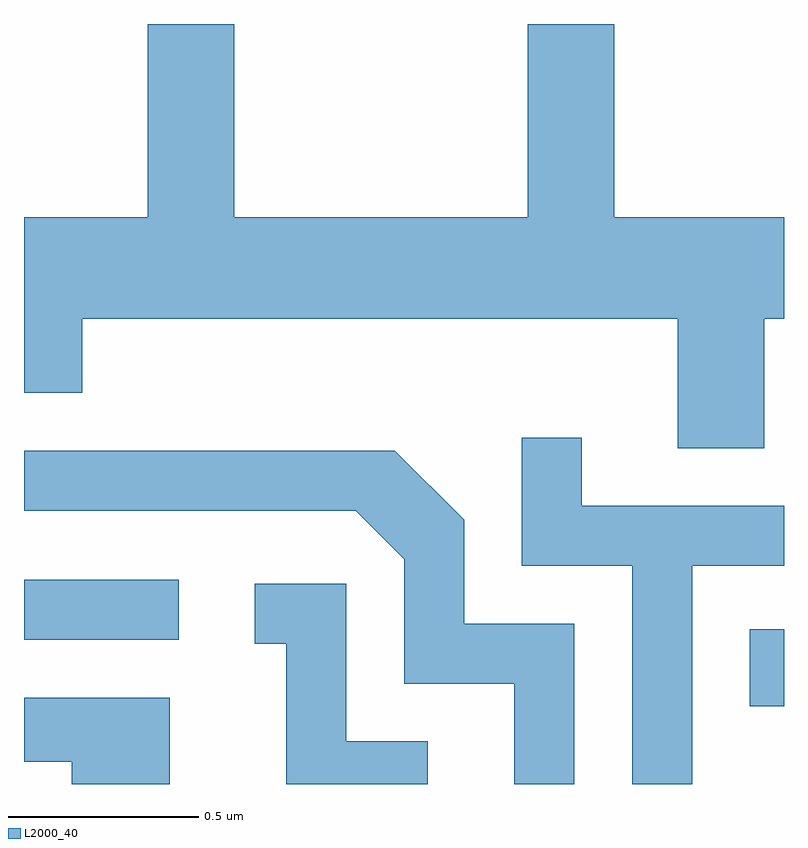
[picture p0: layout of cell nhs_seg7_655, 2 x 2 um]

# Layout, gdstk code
import gdstk
lib = gdstk.Library(unit=1e-6, precision=1e-09)
def R(c, l, rs):  # rectangles x0, y0, x1, y1
    for r in rs: c.add(gdstk.rectangle(r[:2], r[2:], *l))
def P(c, l, *ps):  # polygons
    for p in ps: c.add(gdstk.Polygon(p, *l))
L2000_40 = (2000, 40)

nhs_seg7_655 = lib.new_cell('nhs_seg7_655')
R(nhs_seg7_655, L2000_40, [(191.521,1775.456,191.611,1775.659), (189.611,1775.631,190.018,1775.789)])
P(nhs_seg7_655, L2000_40, [(191.559,1776.476),(191.611,1776.476),(191.611,1776.744),(191.164,1776.744),(191.164,1777.252),(190.936,1777.252),(190.936,1776.744),(190.164,1776.744),(190.164,1777.252),(189.936,1777.252),(189.936,1776.744),(189.611,1776.744),(189.611,1776.281),(189.764,1776.281),(189.764,1776.476),(191.331,1776.476),(191.331,1776.136),(191.559,1776.136)],
  [(191.369,1775.826),(191.611,1775.826),(191.611,1775.984),(191.079,1775.984),(191.079,1776.163),(190.921,1776.163),(190.921,1775.826),(191.211,1775.826),(191.211,1775.252),(191.369,1775.252)],
  [(191.059,1775.674),(190.769,1775.674),(190.769,1775.947),(190.587,1776.129),(189.611,1776.129),(189.611,1775.971),(190.484,1775.971),(190.611,1775.844),(190.611,1775.516),(190.901,1775.516),(190.901,1775.252),(191.059,1775.252)],
  [(190.674,1775.364),(190.459,1775.364),(190.459,1775.779),(190.218,1775.779),(190.218,1775.621),(190.301,1775.621),(190.301,1775.252),(190.674,1775.252)],
  [(189.994,1775.479),(189.611,1775.479),(189.611,1775.311),(189.736,1775.311),(189.736,1775.252),(189.994,1775.252)])

lib.write_gds('nhs_seg7_655.gds')
